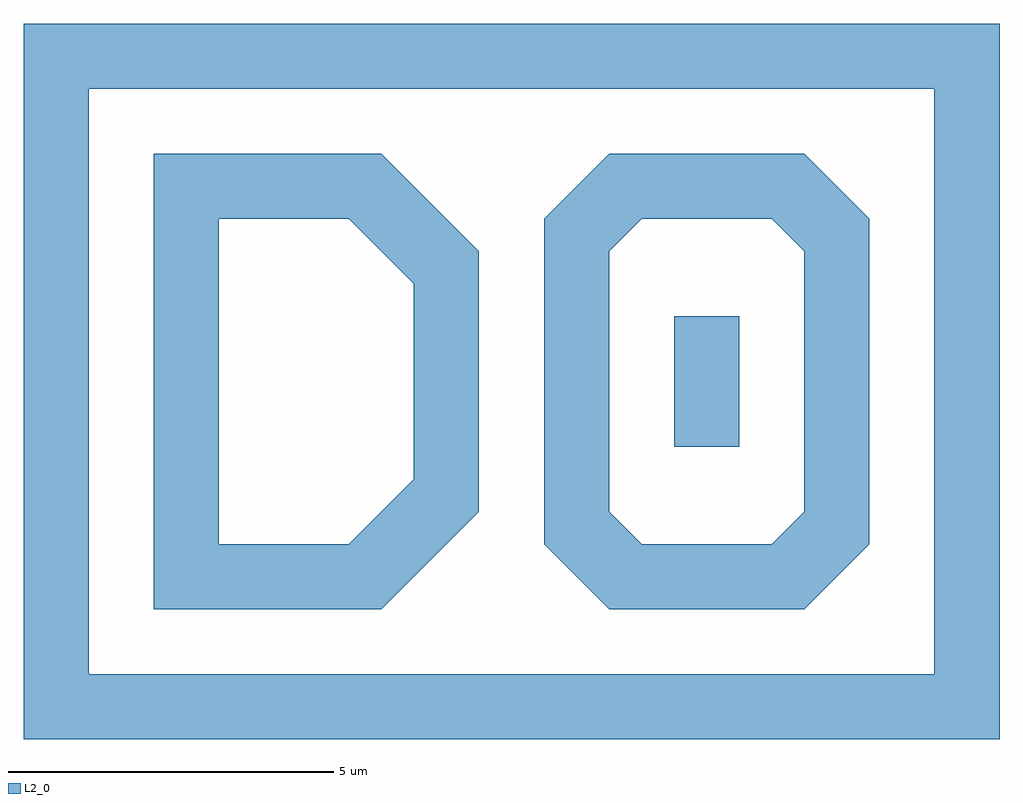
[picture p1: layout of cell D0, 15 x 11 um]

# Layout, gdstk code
import gdstk
lib = gdstk.Library(unit=1e-6, precision=5e-09)
def R(c, l, rs):  # rectangles x0, y0, x1, y1
    for r in rs: c.add(gdstk.rectangle(r[:2], r[2:], *l))
def P(c, l, *ps):  # polygons
    for p in ps: c.add(gdstk.Polygon(p, *l))
L2_0 = (2, 0)

text_35 = lib.new_cell('TEXT$35')
R(text_35, L2_0, [(8,2.5,9,4.5)])
P(text_35, L2_0, [(0,0),(0,7),(3.5,7),(4.5,6),(1,6),(1,1),(3,1),(4,2),(4,5),(3,6),(4.5,6),(5,5.5),(5,1.5),(3.5,0)],
  [(7,0),(6,1),(6,6),(7,7),(10,7),(11,6),(7.5,6),(7,5.5),(7,1.5),(7.5,1),(9.5,1),(10,1.5),(10,5.5),(9.5,6),(11,6),(11,1),(10,0)])

c_d0 = lib.new_cell('D0')
c_d0.add(gdstk.FlexPath([(0.5,0.5),(0.5,10.5),(14.5,10.5),(14.5,0.5),(0.5,0.5)], 1, ends="extended", simple_path=True, layer=2, datatype=0))  # L2_0
c_d0.add(gdstk.Reference(text_35, (2,2)))

lib.write_gds('D0.gds')
